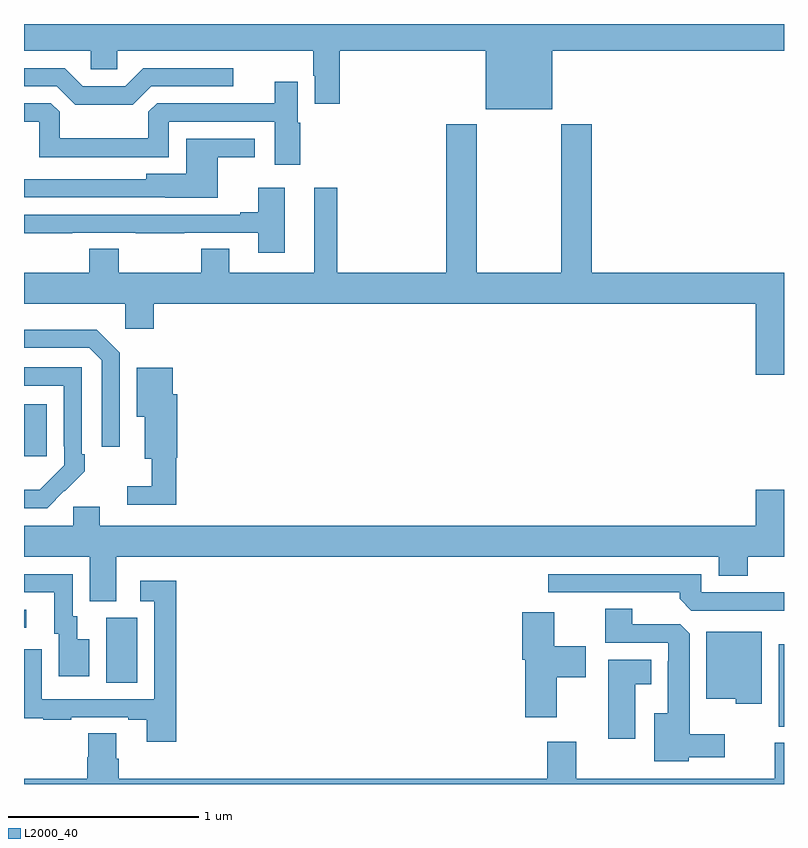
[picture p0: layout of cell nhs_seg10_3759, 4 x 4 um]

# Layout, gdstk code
import gdstk
lib = gdstk.Library(unit=1e-6, precision=1e-09)
def R(c, l, rs):  # rectangles x0, y0, x1, y1
    for r in rs: c.add(gdstk.rectangle(r[:2], r[2:], *l))
def P(c, l, *ps):  # polygons
    for p in ps: c.add(gdstk.Polygon(p, *l))
L2000_40 = (2000, 40)

nhs_seg10_3759 = lib.new_cell('nhs_seg10_3759')
R(nhs_seg10_3759, L2000_40, [(320.972,1252.801,321,1253.236), (317.432,1253.032,317.596,1253.376), (317,1253.322,317.011,1253.418), (317,1254.225,317.119,1254.499)])
P(nhs_seg10_3759, L2000_40, [(319.78,1256.36),(321,1256.36),(321,1256.5),(317,1256.5),(317,1256.36),(317.352,1256.36),(317.352,1256.262),(317.49,1256.262),(317.49,1256.36),(318.523,1256.36),(318.523,1256.228),(318.53,1256.228),(318.53,1256.079),(318.662,1256.079),(318.662,1256.36),(319.43,1256.36),(319.43,1256.051),(319.78,1256.051)],
  [(317.67,1256.172),(318.1,1256.172),(318.1,1256.268),(317.628,1256.268),(317.532,1256.172),(317.31,1256.172),(317.214,1256.268),(317,1256.268),(317,1256.172),(317.172,1256.172),(317.27,1256.075),(317.573,1256.075)],
  [(318.455,1255.979),(318.442,1255.979),(318.442,1256.197),(318.32,1256.197),(318.32,1256.082),(317.7,1256.082),(317.655,1256.037),(317.655,1255.898),(317.187,1255.898),(317.187,1256.037),(317.142,1256.082),(317,1256.082),(317,1255.986),(317.079,1255.986),(317.079,1255.8),(317.763,1255.8),(317.763,1255.986),(318.32,1255.986),(318.32,1255.758),(318.455,1255.758)],
  [(321,1255.192),(319.988,1255.192),(319.988,1255.972),(319.828,1255.972),(319.828,1255.192),(319.383,1255.192),(319.383,1255.972),(319.223,1255.972),(319.223,1255.192),(318.649,1255.192),(318.649,1255.639),(318.527,1255.639),(318.527,1255.192),(318.079,1255.192),(318.079,1255.316),(317.932,1255.316),(317.932,1255.192),(317.499,1255.192),(317.499,1255.316),(317.344,1255.316),(317.344,1255.192),(317,1255.192),(317,1255.028),(317.532,1255.028),(317.532,1254.897),(317.684,1254.897),(317.684,1255.028),(320.852,1255.028),(320.852,1254.654),(321,1254.654)],
  [(318.019,1255.799),(318.214,1255.799),(318.214,1255.896),(317.855,1255.896),(317.855,1255.711),(317.643,1255.711),(317.643,1255.683),(317,1255.683),(317,1255.587),(317.743,1255.587),(317.743,1255.586),(318.019,1255.586)],
  [(318.373,1255.639),(318.233,1255.639),(318.233,1255.51),(318.137,1255.51),(318.137,1255.497),(317,1255.497),(317,1255.4),(317.255,1255.4),(317.255,1255.401),(317.587,1255.401),(317.587,1255.4),(317.843,1255.4),(317.843,1255.401),(318.233,1255.401),(318.233,1255.296),(318.373,1255.296)],
  [(317.505,1254.771),(317.384,1254.892),(317,1254.892),(317,1254.795),(317.343,1254.795),(317.409,1254.729),(317.409,1254.276),(317.505,1254.276)],
  [(317.213,1254.043),(317.214,1254.042),(317.319,1254.147),(317.319,1254.235),(317.304,1254.235),(317.304,1254.693),(317,1254.693),(317,1254.597),(317.208,1254.597),(317.208,1254.277),(317.211,1254.277),(317.211,1254.177),(317.083,1254.049),(317,1254.049),(317,1253.952),(317.122,1253.952)],
  [(317.801,1254.216),(317.807,1254.216),(317.807,1254.552),(317.782,1254.552),(317.782,1254.691),(317.594,1254.691),(317.594,1254.434),(317.636,1254.434),(317.636,1254.212),(317.673,1254.212),(317.673,1254.067),(317.544,1254.067),(317.544,1253.97),(317.801,1253.97)],
  [(317.485,1253.696),(320.657,1253.696),(320.657,1253.597),(320.81,1253.597),(320.81,1253.696),(321,1253.696),(321,1254.049),(320.852,1254.049),(320.852,1253.86),(317.398,1253.86),(317.398,1253.958),(317.259,1253.958),(317.259,1253.86),(317,1253.86),(317,1253.696),(317.345,1253.696),(317.345,1253.461),(317.485,1253.461)],
  [(317.344,1253.263),(317.281,1253.263),(317.281,1253.382),(317.256,1253.382),(317.256,1253.604),(317,1253.604),(317,1253.508),(317.159,1253.508),(317.159,1253.292),(317.183,1253.292),(317.183,1253.067),(317.344,1253.067)],
  [(321,1253.508),(320.565,1253.508),(320.565,1253.604),(319.758,1253.604),(319.758,1253.508),(320.45,1253.508),(320.45,1253.474),(320.511,1253.412),(321,1253.412)],
  [(317.801,1253.569),(317.613,1253.569),(317.613,1253.463),(317.685,1253.463),(317.685,1252.947),(317.094,1252.947),(317.094,1253.209),(317,1253.209),(317,1252.845),(317.101,1252.845),(317.101,1252.839),(317.249,1252.839),(317.249,1252.851),(317.549,1252.851),(317.549,1252.839),(317.645,1252.839),(317.645,1252.722),(317.801,1252.722)],
  [(320.499,1252.64),(320.689,1252.64),(320.689,1252.762),(320.503,1252.762),(320.503,1253.291),(320.454,1253.34),(320.2,1253.34),(320.2,1253.423),(320.06,1253.423),(320.06,1253.244),(320.391,1253.244),(320.391,1253.147),(320.387,1253.147),(320.387,1252.873),(320.318,1252.873),(320.318,1252.619),(320.499,1252.619)],
  [(319.804,1253.062),(319.957,1253.062),(319.957,1253.224),(319.792,1253.224),(319.792,1253.404),(319.622,1253.404),(319.622,1253.155),(319.637,1253.155),(319.637,1252.851),(319.804,1252.851)],
  [(320.884,1253.302),(320.591,1253.302),(320.591,1252.949),(320.745,1252.949),(320.745,1252.922),(320.884,1252.922)],
  [(320.218,1253.024),(320.302,1253.024),(320.302,1253.155),(320.075,1253.155),(320.075,1252.737),(320.218,1252.737)],
  [(321,1252.716),(320.951,1252.716),(320.951,1252.528),(319.906,1252.528),(319.906,1252.723),(319.754,1252.723),(319.754,1252.528),(317.498,1252.528),(317.498,1252.634),(317.485,1252.634),(317.485,1252.766),(317.338,1252.766),(317.338,1252.641),(317.333,1252.641),(317.333,1252.528),(317,1252.528),(317,1252.5),(321,1252.5)])

lib.write_gds('nhs_seg10_3759.gds')
